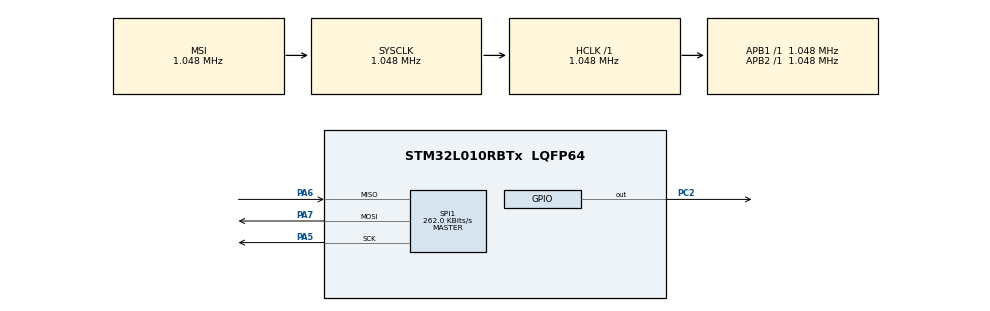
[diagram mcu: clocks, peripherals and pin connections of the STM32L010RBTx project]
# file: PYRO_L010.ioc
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Dma.Request0=SPI1_TX
Dma.Request1=SPI1_RX
Dma.SPI1_RX.1.Direction=DMA_PERIPH_TO_MEMORY
Dma.SPI1_RX.1.Instance=DMA1_Channel2
Dma.SPI1_RX.1.MemDataAlignment=DMA_MDATAALIGN_HALFWORD
Dma.SPI1_RX.1.MemInc=DMA_MINC_ENABLE
Dma.SPI1_RX.1.Mode=DMA_CIRCULAR
Dma.SPI1_RX.1.PeriphDataAlignment=DMA_PDATAALIGN_HALFWORD
Dma.SPI1_RX.1.PeriphInc=DMA_PINC_DISABLE
Dma.SPI1_RX.1.Priority=DMA_PRIORITY_HIGH
Dma.SPI1_TX.0.Direction=DMA_MEMORY_TO_PERIPH
Dma.SPI1_TX.0.Instance=DMA1_Channel3
Dma.SPI1_TX.0.MemDataAlignment=DMA_MDATAALIGN_HALFWORD
Dma.SPI1_TX.0.MemInc=DMA_MINC_ENABLE
Dma.SPI1_TX.0.Mode=DMA_CIRCULAR
Dma.SPI1_TX.0.PeriphDataAlignment=DMA_PDATAALIGN_HALFWORD
Dma.SPI1_TX.0.PeriphInc=DMA_PINC_DISABLE
Dma.SPI1_TX.0.Priority=DMA_PRIORITY_LOW
LPTIM1.ClockPrescaler=LPTIM_PRESCALER_DIV1
Mcu.Family=STM32L0
Mcu.Name=STM32L010RBTx
Mcu.Package=LQFP64
NVIC.DMA1_Channel2_3_IRQn=true\:0\:0\:false\:false\:true\:false\:true\:true
NVIC.LPTIM1_IRQn=true\:0\:0\:false\:false\:true\:true\:true\:true
PA5.Mode=Full_Duplex_Master
PA5.Signal=SPI1_SCK
PA6.Mode=Full_Duplex_Master
PA6.Signal=SPI1_MISO
PA7.Mode=Full_Duplex_Master
PA7.Signal=SPI1_MOSI
PC2.Signal=GPIO_Output
ProjectManager.HeapSize=0x200
ProjectManager.StackSize=0x400
ProjectManager.TargetToolchain=STM32CubeIDE
RCC.ADCFreq_Value=16000000
RCC.AHBFreq_Value=1048000
RCC.APB1Freq_Value=1048000
RCC.APB1TimFreq_Value=1048000
RCC.APB2Freq_Value=1048000
RCC.APB2TimFreq_Value=1048000
RCC.HCLKFreq_Value=1048000
RCC.HSE_VALUE=8000000
RCC.HSI16_VALUE=16000000
RCC.HSI_VALUE=16000000
RCC.LSE_VALUE=32768
RCC.LptimClockSelection=RCC_LPTIM1CLKSOURCE_LSI
RCC.MSIClockRange=RCC_MSIRANGE_4
RCC.MSI_VALUE=1048000
RCC.PLLDIV=RCC_PLLDIV_3
RCC.SYSCLKFreq_VALUE=1048000
RCC.VCOOutputFreq_Value=48000000
SPI1.BaudRatePrescaler=SPI_BAUDRATEPRESCALER_4
SPI1.CalculateBaudRate=262.0 KBits/s
SPI1.DataSize=SPI_DATASIZE_16BIT
SPI1.Direction=SPI_DIRECTION_2LINES
SPI1.Mode=SPI_MODE_MASTER
SPI1.VirtualType=VM_MASTER
VP_LPTIM1_VS_LPTIM_counterModeInternalClock.Mode=Counts__internal_clock_event_00
board=custom

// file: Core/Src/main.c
/* USER CODE BEGIN Header */
/**
 ******************************************************************************
 * @file           : main.c
 * @brief          : Main program body
 ******************************************************************************
 * @attention
 *
 * Copyright (c) 2022 STMicroelectronics.
 * All rights reserved.
 *
 * This software is licensed under terms that can be found in the LICENSE file
 * in the root directory of this software component.
 * If no LICENSE file comes with this software, it is provided AS-IS.
 *
 ******************************************************************************
 */
/* USER CODE END Header */
#include "main.h"

/* USER CODE BEGIN PD */

/* LPTIM Defines */
#define PeriodValue				77
#define PulseValue				6

/* SPI DMA Defines */
#define size    5

/* Protocol Defines */
//INSERT HERE

/* USER CODE END PD */

/* USER CODE BEGIN PV */

/* LPTIM Variables */
LL_LPTIM_InitTypeDef LPTIM_Handle_t;
LL_GPIO_InitTypeDef GPIO_Handle_t;

FlagStatus forcePulseFlag = RESET;
FlagStatus spiFlag = RESET;

/* SPI DMA Variables */
uint16_t bufferTx[size] = {1000, 257, 255, 1002, 45};
uint16_t bufferRx[size];

/* Protocol Variables */
//INSERT HERE

/* USER CODE END PV */

void SystemClock_Config(void);
static void MX_DMA_Init(void);
static void MX_SPI1_Init(void);

int main(void)
{

  /* MCU Configuration--------------------------------------------------------*/

  /* Reset of all peripherals, Initializes the Flash interface and the Systick. */
  HAL_Init();

  /* Configure the system clock */
  SystemClock_Config();

  /* Initialize all configured peripherals */
  MX_DMA_Init();
  MX_SPI1_Init();
  /* USER CODE BEGIN 2 */

	/* Protocol */
//	INSERT HERE

	/* SPI DMA Receive Buffer */
	LL_DMA_ConfigAddresses(DMA1, LL_DMA_CHANNEL_2, (uint32_t)LL_SPI_DMA_GetRegAddr(SPI1),
			(uint32_t)(&bufferRx), LL_DMA_GetDataTransferDirection(DMA1, LL_DMA_CHANNEL_2));

	LL_DMA_SetDataLength(DMA1, LL_DMA_CHANNEL_2, size);
	LL_SPI_EnableDMAReq_RX(SPI1);

	LL_SPI_Enable(SPI1);
	LL_DMA_EnableChannel(DMA1, LL_DMA_CHANNEL_2);

	while(LL_SPI_IsActiveFlag_RXNE(SPI1))
	{
		LL_SPI_ReceiveData16(SPI1);
	}

	/* SPI DMA Transmit Buffer */
	LL_DMA_ConfigAddresses(DMA1, LL_DMA_CHANNEL_3, (uint32_t)(&bufferTx[0]),
			(uint32_t)LL_SPI_DMA_GetRegAddr(SPI1),
			LL_DMA_GetDataTransferDirection(DMA1, LL_DMA_CHANNEL_3));

	LL_DMA_SetDataLength(DMA1, LL_DMA_CHANNEL_3, size);

	LL_DMA_EnableChannel(DMA1, LL_DMA_CHANNEL_3);
	LL_DMA_EnableIT_TC(DMA1, LL_DMA_CHANNEL_3);

	while(!LL_SPI_IsActiveFlag_TXE(SPI1))
	{
//		LL_SPI_TransmitData16(SPI1, (uintptr_t)bufferTx);
	}

	/* LPTIM1 Settings and Initialization */
	LL_APB1_GRP1_EnableClock(LL_APB1_GRP1_PERIPH_LPTIM1);					// Enable the LPTIM1 Clock

	LL_LPTIM_SetClockSource(LPTIM1, LL_LPTIM_CLK_SOURCE_INTERNAL);			// Set clock source to internal
	LL_LPTIM_SetPrescaler(LPTIM1, LL_LPTIM_PRESCALER_DIV1);					// Set Prescaler to 0 (Div 1)
	LL_LPTIM_SetUpdateMode(LPTIM1, LL_LPTIM_UPDATE_MODE_IMMEDIATE);			// Set Update Mode to Immediate
	LL_LPTIM_SetCounterMode(LPTIM1, LL_LPTIM_COUNTER_MODE_INTERNAL);		// Set Counter Mode to Internal
	LL_LPTIM_TrigSw(LPTIM1);												// Set the Trigger to Software
	LL_LPTIM_EnableIT_ARRM(LPTIM1);											// Enable the Auto Reload Register Match Interrupt
	LL_LPTIM_EnableIT_CMPM(LPTIM1);											// Enable the Compare Match Interrupt

	NVIC_SetPriority(LPTIM1_IRQn, 0);										// Set the NVIC Priority to 0
	NVIC_EnableIRQ(LPTIM1_IRQn);											// Enable the Interrupt at NVIC

	LL_LPTIM_Enable(LPTIM1);												// Enable the Low Power Timer 1

	LL_LPTIM_SetAutoReload(LPTIM1, PeriodValue);							// Set the Auto Reload Register value
	while(!LL_LPTIM_IsActiveFlag_ARROK(LPTIM1));							// Wait for flag to be OK
	LL_LPTIM_ClearFlag_ARROK(LPTIM1);										// Clear the OK Flag

	LL_LPTIM_SetCompare(LPTIM1,PulseValue);									// Set the Compare Register
	while(!LL_LPTIM_IsActiveFlag_CMPOK(LPTIM1));							// Wait for flag to be OK
	LL_LPTIM_ClearFlag_CMPOK(LPTIM1);										// Clear the OK Flag

	LL_GPIO_SetPinMode(GPIOA, LL_GPIO_PIN_7, LL_GPIO_MODE_OUTPUT);

	LL_LPTIM_StartCounter(LPTIM1, LL_LPTIM_OPERATING_MODE_CONTINUOUS);		// Start the LPTIM1 Counter
	GPIOA->BSRR = LL_GPIO_PIN_7;

	HAL_PWR_EnterSTOPMode(PWR_LOWPOWERREGULATOR_ON, PWR_STOPENTRY_WFI);		// Enter in Stop Mode

  /* USER CODE END 2 */

  /* Infinite loop */
  /* USER CODE BEGIN WHILE */
	while (1)
	{
		/* Wait for Wake UP on Falling Edge */
		while(!forcePulseFlag);

		/* Start SPI & DMA */
		LL_GPIO_SetPinMode(GPIOA, LL_GPIO_PIN_7, LL_GPIO_MODE_ALTERNATE);
		LL_SPI_EnableDMAReq_TX(SPI1);
//		LL_SPI_TransmitData16(SPI1, (uintptr_t)bufferTx);

		/* Enter in Low Power Run mode */
		HAL_PWR_EnterSLEEPMode(PWR_LOWPOWERREGULATOR_ON, PWR_SLEEPENTRY_WFI);

		while(!spiFlag);
		LL_GPIO_SetPinMode(GPIOA, LL_GPIO_PIN_7, LL_GPIO_MODE_OUTPUT);

		spiFlag = RESET;

		/* Wait for Wake UP on Rising Edge */
		while(forcePulseFlag);

		/* Enter in STOP mode */
		HAL_PWR_EnterSTOPMode(PWR_LOWPOWERREGULATOR_ON, PWR_STOPENTRY_WFI);
    /* USER CODE END WHILE */

	}
}

void SystemClock_Config(void)
{
  RCC_OscInitTypeDef RCC_OscInitStruct = {0};
  RCC_ClkInitTypeDef RCC_ClkInitStruct = {0};
  RCC_PeriphCLKInitTypeDef PeriphClkInit = {0};

  /** Configure the main internal regulator output voltage
  */
  __HAL_PWR_VOLTAGESCALING_CONFIG(PWR_REGULATOR_VOLTAGE_SCALE1);

  /** Initializes the RCC Oscillators according to the specified parameters
  * in the RCC_OscInitTypeDef structure.
  */
  RCC_OscInitStruct.OscillatorType = RCC_OSCILLATORTYPE_LSI|RCC_OSCILLATORTYPE_MSI;
  RCC_OscInitStruct.LSIState = RCC_LSI_ON;
  RCC_OscInitStruct.MSIState = RCC_MSI_ON;
  RCC_OscInitStruct.MSICalibrationValue = 0;
  RCC_OscInitStruct.MSIClockRange = RCC_MSIRANGE_4;
  RCC_OscInitStruct.PLL.PLLState = RCC_PLL_NONE;
  if (HAL_RCC_OscConfig(&RCC_OscInitStruct) != HAL_OK)
  {
    Error_Handler();
  }

  /** Initializes the CPU, AHB and APB buses clocks
  */
  RCC_ClkInitStruct.ClockType = RCC_CLOCKTYPE_HCLK|RCC_CLOCKTYPE_SYSCLK
                              |RCC_CLOCKTYPE_PCLK1|RCC_CLOCKTYPE_PCLK2;
  RCC_ClkInitStruct.SYSCLKSource = RCC_SYSCLKSOURCE_MSI;
  RCC_ClkInitStruct.AHBCLKDivider = RCC_SYSCLK_DIV1;
  RCC_ClkInitStruct.APB1CLKDivider = RCC_HCLK_DIV1;
  RCC_ClkInitStruct.APB2CLKDivider = RCC_HCLK_DIV1;

  if (HAL_RCC_ClockConfig(&RCC_ClkInitStruct, FLASH_LATENCY_0) != HAL_OK)
  {
    Error_Handler();
  }
  PeriphClkInit.PeriphClockSelection = RCC_PERIPHCLK_LPTIM1;
  PeriphClkInit.LptimClockSelection = RCC_LPTIM1CLKSOURCE_LSI;

  if (HAL_RCCEx_PeriphCLKConfig(&PeriphClkInit) != HAL_OK)
  {
    Error_Handler();
  }
}

static void MX_SPI1_Init(void)
{

  LL_SPI_InitTypeDef SPI_InitStruct = {0};

  LL_GPIO_InitTypeDef GPIO_InitStruct = {0};

  /* Peripheral clock enable */
  LL_APB2_GRP1_EnableClock(LL_APB2_GRP1_PERIPH_SPI1);

  LL_IOP_GRP1_EnableClock(LL_IOP_GRP1_PERIPH_GPIOA);
  /**SPI1 GPIO Configuration
  PA5   ------> SPI1_SCK
  PA6   ------> SPI1_MISO
  PA7   ------> SPI1_MOSI
  */
  GPIO_InitStruct.Pin = LL_GPIO_PIN_5;
  GPIO_InitStruct.Mode = LL_GPIO_MODE_ALTERNATE;
  GPIO_InitStruct.Speed = LL_GPIO_SPEED_FREQ_VERY_HIGH;
  GPIO_InitStruct.OutputType = LL_GPIO_OUTPUT_PUSHPULL;
  GPIO_InitStruct.Pull = LL_GPIO_PULL_NO;
  GPIO_InitStruct.Alternate = LL_GPIO_AF_0;
  LL_GPIO_Init(GPIOA, &GPIO_InitStruct);

  GPIO_InitStruct.Pin = LL_GPIO_PIN_6;
  GPIO_InitStruct.Mode = LL_GPIO_MODE_ALTERNATE;
  GPIO_InitStruct.Speed = LL_GPIO_SPEED_FREQ_VERY_HIGH;
  GPIO_InitStruct.OutputType = LL_GPIO_OUTPUT_PUSHPULL;
  GPIO_InitStruct.Pull = LL_GPIO_PULL_NO;
  GPIO_InitStruct.Alternate = LL_GPIO_AF_0;
  LL_GPIO_Init(GPIOA, &GPIO_InitStruct);

  GPIO_InitStruct.Pin = LL_GPIO_PIN_7;
  GPIO_InitStruct.Mode = LL_GPIO_MODE_ALTERNATE;
  GPIO_InitStruct.Speed = LL_GPIO_SPEED_FREQ_VERY_HIGH;
  GPIO_InitStruct.OutputType = LL_GPIO_OUTPUT_PUSHPULL;
  GPIO_InitStruct.Pull = LL_GPIO_PULL_NO;
  GPIO_InitStruct.Alternate = LL_GPIO_AF_0;
  LL_GPIO_Init(GPIOA, &GPIO_InitStruct);

  /* SPI1 DMA Init */

  /* SPI1_TX Init */
  LL_DMA_SetPeriphRequest(DMA1, LL_DMA_CHANNEL_3, LL_DMA_REQUEST_1);

  LL_DMA_SetDataTransferDirection(DMA1, LL_DMA_CHANNEL_3, LL_DMA_DIRECTION_MEMORY_TO_PERIPH);

  LL_DMA_SetChannelPriorityLevel(DMA1, LL_DMA_CHANNEL_3, LL_DMA_PRIORITY_LOW);

  LL_DMA_SetMode(DMA1, LL_DMA_CHANNEL_3, LL_DMA_MODE_CIRCULAR);

  LL_DMA_SetPeriphIncMode(DMA1, LL_DMA_CHANNEL_3, LL_DMA_PERIPH_NOINCREMENT);

  LL_DMA_SetMemoryIncMode(DMA1, LL_DMA_CHANNEL_3, LL_DMA_MEMORY_INCREMENT);

  LL_DMA_SetPeriphSize(DMA1, LL_DMA_CHANNEL_3, LL_DMA_PDATAALIGN_HALFWORD);

  LL_DMA_SetMemorySize(DMA1, LL_DMA_CHANNEL_3, LL_DMA_MDATAALIGN_HALFWORD);

  /* SPI1_RX Init */
  LL_DMA_SetPeriphRequest(DMA1, LL_DMA_CHANNEL_2, LL_DMA_REQUEST_1);

  LL_DMA_SetDataTransferDirection(DMA1, LL_DMA_CHANNEL_2, LL_DMA_DIRECTION_PERIPH_TO_MEMORY);

  LL_DMA_SetChannelPriorityLevel(DMA1, LL_DMA_CHANNEL_2, LL_DMA_PRIORITY_HIGH);

  LL_DMA_SetMode(DMA1, LL_DMA_CHANNEL_2, LL_DMA_MODE_CIRCULAR);

  LL_DMA_SetPeriphIncMode(DMA1, LL_DMA_CHANNEL_2, LL_DMA_PERIPH_NOINCREMENT);

  LL_DMA_SetMemoryIncMode(DMA1, LL_DMA_CHANNEL_2, LL_DMA_MEMORY_INCREMENT);

  LL_DMA_SetPeriphSize(DMA1, LL_DMA_CHANNEL_2, LL_DMA_PDATAALIGN_HALFWORD);

  LL_DMA_SetMemorySize(DMA1, LL_DMA_CHANNEL_2, LL_DMA_MDATAALIGN_HALFWORD);

  /* SPI1 parameter configuration*/
  SPI_InitStruct.TransferDirection = LL_SPI_FULL_DUPLEX;
  SPI_InitStruct.Mode = LL_SPI_MODE_MASTER;
  SPI_InitStruct.DataWidth = LL_SPI_DATAWIDTH_16BIT;
  SPI_InitStruct.ClockPolarity = LL_SPI_POLARITY_LOW;
  SPI_InitStruct.ClockPhase = LL_SPI_PHASE_1EDGE;
  SPI_InitStruct.NSS = LL_SPI_NSS_SOFT;
  SPI_InitStruct.BaudRate = LL_SPI_BAUDRATEPRESCALER_DIV4;
  SPI_InitStruct.BitOrder = LL_SPI_MSB_FIRST;
  SPI_InitStruct.CRCCalculation = LL_SPI_CRCCALCULATION_DISABLE;
  SPI_InitStruct.CRCPoly = 7;
  LL_SPI_Init(SPI1, &SPI_InitStruct);
  LL_SPI_SetStandard(SPI1, LL_SPI_PROTOCOL_MOTOROLA);

}

static void MX_DMA_Init(void)
{

  /* Init with LL driver */
  /* DMA controller clock enable */
  LL_AHB1_GRP1_EnableClock(LL_AHB1_GRP1_PERIPH_DMA1);

  /* DMA interrupt init */
  /* DMA1_Channel2_3_IRQn interrupt configuration */
  NVIC_SetPriority(DMA1_Channel2_3_IRQn, 0);
  NVIC_EnableIRQ(DMA1_Channel2_3_IRQn);

}

void Error_Handler(void)
{
	__disable_irq();
	while (1)
	{
	}
}
